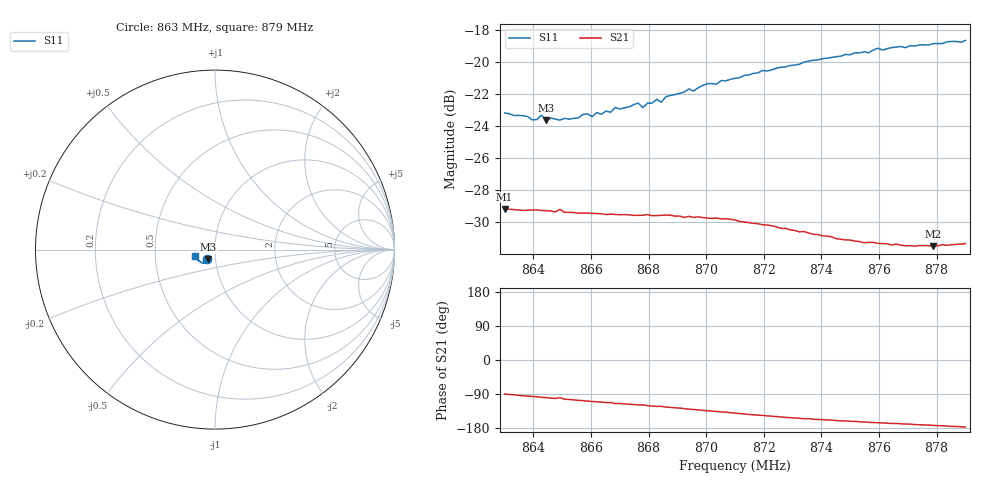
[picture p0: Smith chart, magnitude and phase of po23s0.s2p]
# HZ S RI R 50
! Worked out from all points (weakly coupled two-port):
!   101 points, 863 MHz to 879 MHz, reference 50 ohm
!   highest |S21| = -29.16 dB at 863 MHz (marker M1); lowest = -31.5 dB at 877.88 MHz (marker M2)
!   lowest |S11| = -23.6 dB at 864.44 MHz (marker M3), VSWR 1.14, Z = 46.2 - j5.1 ohm
!   |S11| at or under -10 dB: start of sweep to end of sweep
!   S12 and S22 are empty: the file has one direction only
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8.63e8  -0.0432 -0.0543  0.000156 -0.0348  0 0  0 0
8.6396e8  -0.0388 -0.0534  -0.00363 -0.0344  0 0  0 0
8.6428e8  -0.0387 -0.0563  -0.00513 -0.0341  0 0  0 0
8.6444e8  -0.0363 -0.0549  -0.00548 -0.034  0 0  0 0
8.6572e8  -0.0345 -0.0594  -0.00998 -0.0323  0 0  0 0
8.6604e8  -0.0333 -0.0587  -0.0112 -0.0318  0 0  0 0
8.662e8  -0.0345 -0.0604  -0.0117 -0.0316  0 0  0 0
8.6668e8  -0.0337 -0.061  -0.0128 -0.031  0 0  0 0
8.6684e8  -0.0358 -0.0627  -0.0141 -0.0304  0 0  0 0
8.6764e8  -0.0358 -0.0653  -0.0159 -0.0293  0 0  0 0
8.678e8  -0.0333 -0.0639  -0.0158 -0.0293  0 0  0 0
8.6828e8  -0.036 -0.0675  -0.0178 -0.0281  0 0  0 0
8.6844e8  -0.0354 -0.0661  -0.0178 -0.0282  0 0  0 0
8.686e8  -0.0367 -0.0687  -0.0188 -0.0276  0 0  0 0
8.694e8  -0.0428 -0.0704  -0.0211 -0.0254  0 0  0 0
8.6956e8  -0.0417 -0.0696  -0.0214 -0.0249  0 0  0 0
8.7004e8  -0.0448 -0.0729  -0.0226 -0.0236  0 0  0 0
8.71e8  -0.0491 -0.0742  -0.0247 -0.0207  0 0  0 0
8.7372e8  -0.0684 -0.0747  -0.0266 -0.0117  0 0  0 0
8.7644e8  -0.0928 -0.0606  -0.0263 -0.0059  0 0  0 0
8.7788e8  -0.1035 -0.0481  -0.0265 -0.00352  0 0  0 0
8.79e8  -0.1102 -0.0384  -0.0271 -0.00145  0 0  0 0
